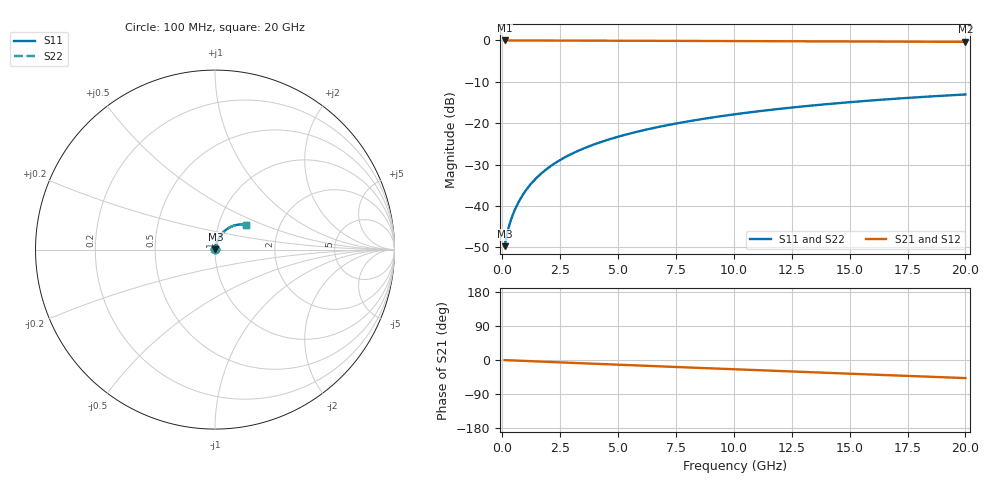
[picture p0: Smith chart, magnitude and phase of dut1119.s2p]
! Touchstone file exported from HFSS 2026.1.0
!  File:  C:/ffzhzh/LocalFiles/Ansys_Project_Files/temp_train_TMRDL_1119_1783161580_43440.aedt
!  Generated:  06:41:03 PM Jul  4, 2026
!  Design:  TMRDL
!  Project:  temp_train_TMRDL_1119_1783161580_43440
! Variables:
!  h_bsmrdl = 2um
!  h_ox = 20um
!  h_rdl = 5um
!  h_sub = 80um
!  h_tmrdl = 4.93um
!  h_tsv = 80um
!  h_via = 3um
!  l_bsmrdl = 300um
!  l_sub = 1216.83um
!  l_tmrdl = 816.83um
!  m_sub = 200um
!  pitch = 36.36um
!  r_tsv = 6um
!  s_tmrdl = 10um
!  w_bsmrdl = 18um
!  w_sub = 500um
!  w_tmrdl = 24.22um
!  x_tsv_center1 = 828.94um
!  x_tsv_center2 = 1146.94um
!  x_tsv_center3 = 1987.99um
!  x_tsv_center4 = 2305.99um
!  x_tsv_center5 = 3147.04um
!  x_tsv_center6 = 3465.04um
# GHz S MA R 50.000000
! Terminal data exported
! Port[1] = TM_RDL1_1_T1
! Port[2] = TM_RDL1_1_T2
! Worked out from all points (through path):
!   200 points, 100 MHz to 20 GHz, reference 50 ohm
!   highest |S21| = -0.02 dB at 100 MHz (marker M1); lowest = -0.4 dB at 20 GHz (marker M2)
!   group delay of S21, straight-line fit = 6.61 ps
!   lowest |S11| = -49.7 dB at 100 MHz (marker M3), VSWR 1.01, Z = 50.3 + j0.184 ohm
!   |S11| at or under -10 dB: start of sweep to end of sweep
!   |S22| runs from -49.7 to -13.1 dB; largest |S21 - S12| = 3.1e-15
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0.1  0.003262 34.2  0.9973 -0.3  0.9973 -0.3  0.003262 34.2
! Gamma 0 0 0 0
! Port Impedance 50 0 50 0
0.2  0.004557 48.4  0.997 -0.5  0.997 -0.5  0.004557 48.4
0.3  0.00584 55.7  0.9968 -0.8  0.9968 -0.8  0.00584 55.7
0.4  0.007113 60.6  0.9966 -1.0  0.9966 -1.0  0.007113 60.6
0.5  0.008404 64.3  0.9965 -1.3  0.9965 -1.3  0.008404 64.2
0.6  0.009719 67.0  0.9964 -1.5  0.9964 -1.5  0.009719 67.0
0.8  0.01241 70.6  0.9962 -2.0  0.9962 -2.0  0.01241 70.6
1  0.01516 72.9  0.9961 -2.5  0.9961 -2.5  0.01516 72.8
1.2  0.01793 74.2  0.9959 -3.0  0.9959 -3.0  0.01793 74.2
1.4  0.02071 75.0  0.9957 -3.5  0.9957 -3.5  0.02071 75.0
1.7  0.02488 75.7  0.9954 -4.3  0.9954 -4.3  0.02488 75.6
2.2  0.03179 75.8  0.9947 -5.5  0.9947 -5.5  0.03179 75.8
2.8  0.03995 75.2  0.9938 -7.0  0.9938 -7.0  0.03995 75.2
3.5  0.04927 74.1  0.9926 -8.8  0.9926 -8.8  0.04926 74.1
4.2  0.05836 72.8  0.9914 -10.5  0.9914 -10.5  0.05836 72.7
5  0.06852 71.2  0.99 -12.4  0.99 -12.4  0.06851 71.1
6.8  0.09057 67.4  0.9866 -16.8  0.9866 -16.8  0.09056 67.4
8.3  0.1082 64.2  0.9838 -20.4  0.9838 -20.4  0.1082 64.2
10.1  0.1286 60.4  0.9804 -24.6  0.9804 -24.6  0.1286 60.3
13.4  0.1635 53.2  0.9737 -32.4  0.9737 -32.4  0.1634 53.1
16.7  0.1947 46.0  0.9669 -40.1  0.9669 -40.1  0.1947 45.9
20  0.222 38.7  0.9602 -47.7  0.9602 -47.7  0.2219 38.6
